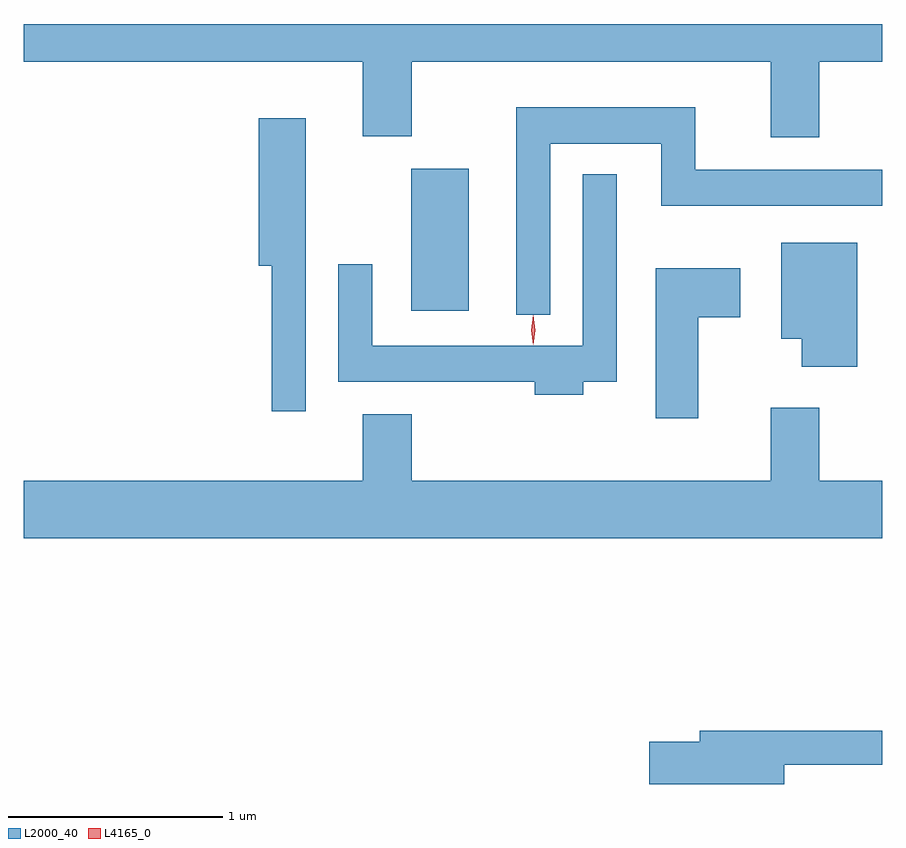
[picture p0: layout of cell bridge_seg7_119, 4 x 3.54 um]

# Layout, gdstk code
import gdstk
lib = gdstk.Library(unit=1e-6, precision=1e-09)
def R(c, l, rs):  # rectangles x0, y0, x1, y1
    for r in rs: c.add(gdstk.rectangle(r[:2], r[2:], *l))
def P(c, l, *ps):  # polygons
    for p in ps: c.add(gdstk.Polygon(p, *l))
L2000_40 = (2000, 40)
L4165_0 = (4165, 0)

bridge_seg7_119 = lib.new_cell('bridge_seg7_119')
R(bridge_seg7_119, L2000_40, [(1491.026,1788.636,1491.294,1789.299)])
P(bridge_seg7_119, L2000_40, [(1492.929,1789.796),(1493.221,1789.796),(1493.221,1789.973),(1489.221,1789.973),(1489.221,1789.796),(1490.801,1789.796),(1490.801,1789.451),(1491.029,1789.451),(1491.029,1789.796),(1492.701,1789.796),(1492.701,1789.446),(1492.929,1789.446)],
  [(1491.674,1789.416),(1492.191,1789.416),(1492.191,1789.126),(1493.221,1789.126),(1493.221,1789.294),(1492.349,1789.294),(1492.349,1789.584),(1491.516,1789.584),(1491.516,1788.618),(1491.674,1788.618)],
  [(1490.534,1789.534),(1490.316,1789.534),(1490.316,1788.846),(1490.376,1788.846),(1490.376,1788.168),(1490.534,1788.168)],
  [(1491.829,1788.306),(1491.984,1788.306),(1491.984,1789.273),(1491.826,1789.273),(1491.826,1788.474),(1490.844,1788.474),(1490.844,1788.853),(1490.686,1788.853),(1490.686,1788.306),(1491.601,1788.306),(1491.601,1788.246),(1491.829,1788.246)],
  [(1493.104,1788.954),(1492.751,1788.954),(1492.751,1788.506),(1492.846,1788.506),(1492.846,1788.376),(1493.104,1788.376)],
  [(1492.364,1788.606),(1492.559,1788.606),(1492.559,1788.834),(1492.166,1788.834),(1492.166,1788.136),(1492.364,1788.136)],
  [(1493.221,1787.844),(1492.929,1787.844),(1492.929,1788.184),(1492.701,1788.184),(1492.701,1787.844),(1491.029,1787.844),(1491.029,1788.154),(1490.801,1788.154),(1490.801,1787.844),(1489.221,1787.844),(1489.221,1787.576),(1493.221,1787.576)],
  [(1492.764,1786.521),(1493.221,1786.521),(1493.221,1786.679),(1492.371,1786.679),(1492.371,1786.629),(1492.136,1786.629),(1492.136,1786.431),(1492.764,1786.431)])
P(bridge_seg7_119, L4165_0, [(1491.594,1788.477),(1491.585,1788.546),(1491.594,1788.616),(1491.595,1788.616),(1491.596,1788.616),(1491.605,1788.546),(1491.596,1788.477),(1491.595,1788.477)],
  [(1491.595,1788.479),(1491.595,1788.48),(1491.585,1788.546),(1491.595,1788.612),(1491.595,1788.613),(1491.596,1788.612),(1491.605,1788.546),(1491.596,1788.48)])

lib.write_gds('bridge_seg7_119.gds')
